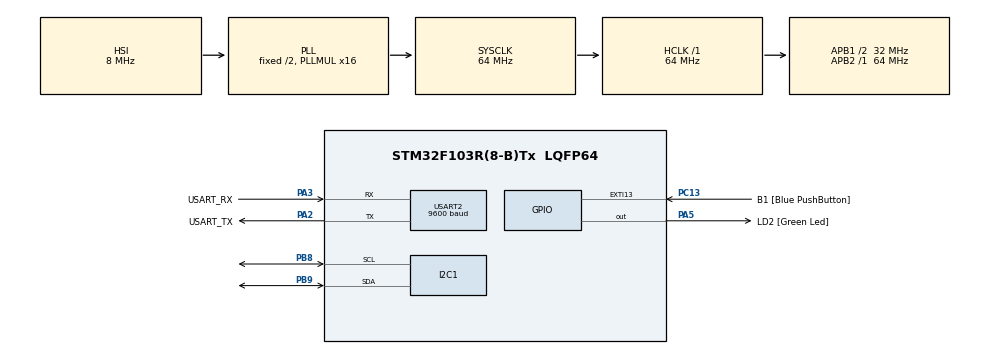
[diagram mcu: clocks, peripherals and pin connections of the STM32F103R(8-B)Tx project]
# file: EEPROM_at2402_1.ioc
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I2C1.I2C_Mode=I2C_Standard
Mcu.Family=STM32F1
Mcu.Name=STM32F103R(8-B)Tx
Mcu.Package=LQFP64
NVIC.EXTI15_10_IRQn=true\:0\:0\:false\:false\:true\:true\:true\:true
NVIC.PriorityGroup=NVIC_PRIORITYGROUP_4
PA13.GPIO_Label=TMS
PA13.Mode=Serial_Wire
PA13.Signal=SYS_JTMS-SWDIO
PA14.GPIO_Label=TCK
PA14.Mode=Serial_Wire
PA14.Signal=SYS_JTCK-SWCLK
PA2.GPIO_Label=USART_TX
PA2.GPIO_Mode=GPIO_MODE_AF_PP
PA2.GPIO_PuPd=GPIO_NOPULL
PA2.GPIO_Speed=GPIO_SPEED_FREQ_LOW
PA2.Mode=Asynchronous
PA2.Signal=USART2_TX
PA3.GPIO_Label=USART_RX
PA3.GPIO_Mode=GPIO_MODE_AF_PP
PA3.GPIO_PuPd=GPIO_NOPULL
PA3.GPIO_Speed=GPIO_SPEED_FREQ_LOW
PA3.Mode=Asynchronous
PA3.Signal=USART2_RX
PA5.GPIO_Label=LD2 [Green Led]
PA5.GPIO_ModeDefaultOutputPP=GPIO_MODE_OUTPUT_PP
PA5.GPIO_PuPd=GPIO_NOPULL
PA5.GPIO_Speed=GPIO_SPEED_FREQ_LOW
PA5.Signal=GPIO_Output
PB3.GPIO_Label=SWO
PB3.Signal=SYS_JTDO-TRACESWO
PB8.Mode=I2C
PB8.Signal=I2C1_SCL
PB9.Mode=I2C
PB9.Signal=I2C1_SDA
PC13-TAMPER-RTC.GPIO_Label=B1 [Blue PushButton]
PC13-TAMPER-RTC.GPIO_PuPd=GPIO_NOPULL
PC13-TAMPER-RTC.Signal=GPXTI13
PC14-OSC32_IN.Mode=LSE-External-Oscillator
PC14-OSC32_IN.Signal=RCC_OSC32_IN
PC15-OSC32_OUT.Mode=LSE-External-Oscillator
PC15-OSC32_OUT.Signal=RCC_OSC32_OUT
PD0-OSC_IN.Mode=HSE-External-Clock-Source
PD0-OSC_IN.Signal=RCC_OSC_IN
PD1-OSC_OUT.Mode=HSE-External-Clock-Source
PD1-OSC_OUT.Signal=RCC_OSC_OUT
ProjectManager.HeapSize=0x200
ProjectManager.StackSize=0x400
ProjectManager.TargetToolchain=STM32CubeIDE
RCC.AHBFreq_Value=64000000
RCC.APB1CLKDivider=RCC_HCLK_DIV2
RCC.APB1Freq_Value=32000000
RCC.APB1TimFreq_Value=64000000
RCC.APB2Freq_Value=64000000
RCC.APB2TimFreq_Value=64000000
RCC.HCLKFreq_Value=64000000
RCC.PLLMUL=RCC_PLL_MUL16
RCC.RTCClockSelection=RCC_RTCCLKSOURCE_LSE
RCC.SYSCLKFreq_VALUE=64000000
RCC.SYSCLKSource=RCC_SYSCLKSOURCE_PLLCLK
RCC.USBFreq_Value=64000000
USART2.BaudRate=9600
USART2.VirtualMode=VM_ASYNC
board=NUCLEO-F103RB

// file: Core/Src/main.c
/* USER CODE BEGIN Header */
/**
  ******************************************************************************
  * @file           : main.c
  * @brief          : Main program body
  ******************************************************************************
  * @attention
  *
  * Copyright (c) 2024 STMicroelectronics.
  * All rights reserved.
  *
  * This software is licensed under terms that can be found in the LICENSE file
  * in the root directory of this software component.
  * If no LICENSE file comes with this software, it is provided AS-IS.
  *
  ******************************************************************************
  */
/* USER CODE END Header */
#include "main.h"
#include <string.h>

I2C_HandleTypeDef hi2c1;

UART_HandleTypeDef huart2;

void SystemClock_Config(void);
static void MX_GPIO_Init(void);
static void MX_USART2_UART_Init(void);
static void MX_I2C1_Init(void);

int main(void)
{

  /* MCU Configuration--------------------------------------------------------*/

  /* Reset of all peripherals, Initializes the Flash interface and the Systick. */
  HAL_Init();

  /* Configure the system clock */
  SystemClock_Config();

  /* Initialize all configured peripherals */
  MX_GPIO_Init();
  MX_USART2_UART_Init();
  MX_I2C1_Init();
  /* USER CODE BEGIN 2 */
  uint8_t chipAddress = 0xA0; // 0b1010000 7 bit address
  //uint8_t addressWrite = (chipAddress | (0<<0)); // I2C tx/rx functions already change the R/W bit!!
  //uint8_t addressRead = (chipAddress | (1<<0));

  uint8_t dataReceive[10];
  uint8_t dummyByte[1] = {0x00};

  // welcome message
  char msg[] = "Hello I2C eeprom\r\n";
  HAL_UART_Transmit(&huart2, msg, strlen(msg), HAL_MAX_DELAY);

  // read current address
  //HAL_I2C_Master_Receive(&hi2c1, chipAddress, dataReceive, 1, HAL_MAX_DELAY);
  //HAL_UART_Transmit(&huart2, dataReceive, 1, HAL_MAX_DELAY);

//  HAL_I2C_Master_Transmit(&hi2c1, chipAddress , dummyByte, 1, HAL_MAX_DELAY);
//  HAL_Delay(10);
//  HAL_I2C_Master_Receive(&hi2c1, addressRead, dataReceive, 1, HAL_MAX_DELAY);
//  HAL_Delay(10);
//  HAL_UART_Transmit(&huart2, dataReceive, 1, HAL_MAX_DELAY);

  // store 2 bytes starting in address 0x00
  uint8_t dataByte[3] = {0x00, 5, 12}; // store 5 in memory 0x00 and 12 in (n+1)= 0x01
  HAL_I2C_Master_Transmit(&hi2c1, chipAddress , dataByte, 3, HAL_MAX_DELAY); // send word address, value
  HAL_Delay(10);

  // read 2 bytes from data address 0x00, 0x01
  uint8_t startAddress[1] = {0x00};
  HAL_I2C_Master_Transmit(&hi2c1, chipAddress , startAddress, 1, HAL_MAX_DELAY); // dummy write with word address 0x00 as starting address
  HAL_Delay(10);
  HAL_I2C_Master_Receive(&hi2c1, chipAddress, dataReceive, 2, HAL_MAX_DELAY);

  char output[20];
  sprintf(output,"Stored values: %i, %i\r\n", dataReceive[0], dataReceive[1]);
  HAL_UART_Transmit(&huart2, output, strlen(output), HAL_MAX_DELAY);

  /* USER CODE END 2 */

  /* Infinite loop */
  while (1)
  {

  }
}

void SystemClock_Config(void)
{
  RCC_OscInitTypeDef RCC_OscInitStruct = {0};
  RCC_ClkInitTypeDef RCC_ClkInitStruct = {0};

  /** Initializes the RCC Oscillators according to the specified parameters
  * in the RCC_OscInitTypeDef structure.
  */
  RCC_OscInitStruct.OscillatorType = RCC_OSCILLATORTYPE_HSI;
  RCC_OscInitStruct.HSIState = RCC_HSI_ON;
  RCC_OscInitStruct.HSICalibrationValue = RCC_HSICALIBRATION_DEFAULT;
  RCC_OscInitStruct.PLL.PLLState = RCC_PLL_ON;
  RCC_OscInitStruct.PLL.PLLSource = RCC_PLLSOURCE_HSI_DIV2;
  RCC_OscInitStruct.PLL.PLLMUL = RCC_PLL_MUL16;
  if (HAL_RCC_OscConfig(&RCC_OscInitStruct) != HAL_OK)
  {
    Error_Handler();
  }

  /** Initializes the CPU, AHB and APB buses clocks
  */
  RCC_ClkInitStruct.ClockType = RCC_CLOCKTYPE_HCLK|RCC_CLOCKTYPE_SYSCLK
                              |RCC_CLOCKTYPE_PCLK1|RCC_CLOCKTYPE_PCLK2;
  RCC_ClkInitStruct.SYSCLKSource = RCC_SYSCLKSOURCE_PLLCLK;
  RCC_ClkInitStruct.AHBCLKDivider = RCC_SYSCLK_DIV1;
  RCC_ClkInitStruct.APB1CLKDivider = RCC_HCLK_DIV2;
  RCC_ClkInitStruct.APB2CLKDivider = RCC_HCLK_DIV1;

  if (HAL_RCC_ClockConfig(&RCC_ClkInitStruct, FLASH_LATENCY_2) != HAL_OK)
  {
    Error_Handler();
  }
}

static void MX_I2C1_Init(void)
{

  hi2c1.Instance = I2C1;
  hi2c1.Init.ClockSpeed = 100000;
  hi2c1.Init.DutyCycle = I2C_DUTYCYCLE_2;
  hi2c1.Init.OwnAddress1 = 0;
  hi2c1.Init.AddressingMode = I2C_ADDRESSINGMODE_7BIT;
  hi2c1.Init.DualAddressMode = I2C_DUALADDRESS_DISABLE;
  hi2c1.Init.OwnAddress2 = 0;
  hi2c1.Init.GeneralCallMode = I2C_GENERALCALL_DISABLE;
  hi2c1.Init.NoStretchMode = I2C_NOSTRETCH_DISABLE;
  if (HAL_I2C_Init(&hi2c1) != HAL_OK)
  {
    Error_Handler();
  }

}

static void MX_USART2_UART_Init(void)
{

  huart2.Instance = USART2;
  huart2.Init.BaudRate = 9600;
  huart2.Init.WordLength = UART_WORDLENGTH_8B;
  huart2.Init.StopBits = UART_STOPBITS_1;
  huart2.Init.Parity = UART_PARITY_NONE;
  huart2.Init.Mode = UART_MODE_TX_RX;
  huart2.Init.HwFlowCtl = UART_HWCONTROL_NONE;
  huart2.Init.OverSampling = UART_OVERSAMPLING_16;
  if (HAL_UART_Init(&huart2) != HAL_OK)
  {
    Error_Handler();
  }

}

static void MX_GPIO_Init(void)
{
  GPIO_InitTypeDef GPIO_InitStruct = {0};

  /* GPIO Ports Clock Enable */
  __HAL_RCC_GPIOC_CLK_ENABLE();
  __HAL_RCC_GPIOD_CLK_ENABLE();
  __HAL_RCC_GPIOA_CLK_ENABLE();
  __HAL_RCC_GPIOB_CLK_ENABLE();

  /*Configure GPIO pin Output Level */
  HAL_GPIO_WritePin(LD2_GPIO_Port, LD2_Pin, GPIO_PIN_RESET);

  /*Configure GPIO pin : B1_Pin */
  GPIO_InitStruct.Pin = B1_Pin;
  GPIO_InitStruct.Mode = GPIO_MODE_IT_RISING;
  GPIO_InitStruct.Pull = GPIO_NOPULL;
  HAL_GPIO_Init(B1_GPIO_Port, &GPIO_InitStruct);

  /*Configure GPIO pin : LD2_Pin */
  GPIO_InitStruct.Pin = LD2_Pin;
  GPIO_InitStruct.Mode = GPIO_MODE_OUTPUT_PP;
  GPIO_InitStruct.Pull = GPIO_NOPULL;
  GPIO_InitStruct.Speed = GPIO_SPEED_FREQ_LOW;
  HAL_GPIO_Init(LD2_GPIO_Port, &GPIO_InitStruct);

  /* EXTI interrupt init*/
  HAL_NVIC_SetPriority(EXTI15_10_IRQn, 0, 0);
  HAL_NVIC_EnableIRQ(EXTI15_10_IRQn);

}

void Error_Handler(void)
{
  __disable_irq();
  while (1)
  {
  }
}
